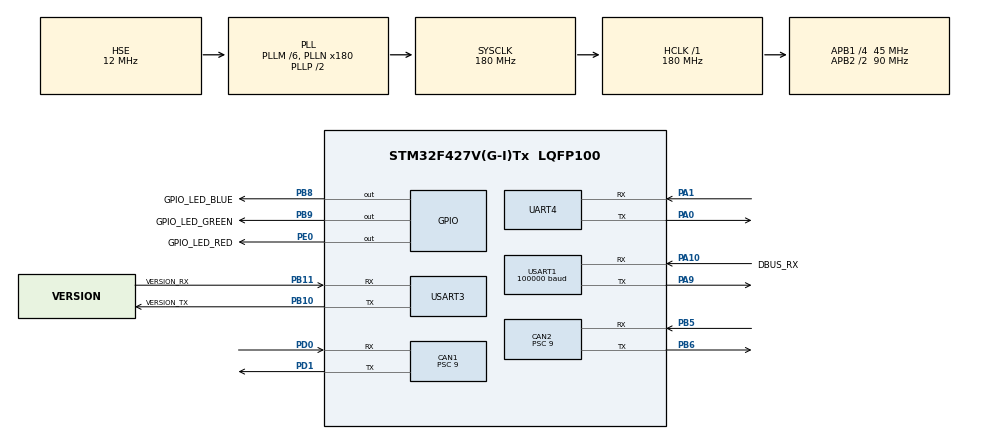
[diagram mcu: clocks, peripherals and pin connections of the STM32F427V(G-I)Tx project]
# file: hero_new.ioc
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CAN1.BS1=CAN_BS1_2TQ
CAN1.BS2=CAN_BS2_2TQ
CAN1.CalculateTimeQuantum=200.0
CAN1.Prescaler=9
CAN2.BS1=CAN_BS1_2TQ
CAN2.BS2=CAN_BS2_2TQ
CAN2.CalculateTimeQuantum=200.0
CAN2.Prescaler=9
Dma.Request0=USART1_RX
Dma.Request1=USART3_RX
Dma.Request2=USART3_TX
Dma.Request3=UART4_TX
Dma.UART4_TX.3.Direction=DMA_MEMORY_TO_PERIPH
Dma.UART4_TX.3.FIFOMode=DMA_FIFOMODE_DISABLE
Dma.UART4_TX.3.Instance=DMA1_Stream4
Dma.UART4_TX.3.MemDataAlignment=DMA_MDATAALIGN_BYTE
Dma.UART4_TX.3.MemInc=DMA_MINC_ENABLE
Dma.UART4_TX.3.Mode=DMA_NORMAL
Dma.UART4_TX.3.PeriphDataAlignment=DMA_PDATAALIGN_BYTE
Dma.UART4_TX.3.PeriphInc=DMA_PINC_DISABLE
Dma.UART4_TX.3.Priority=DMA_PRIORITY_LOW
Dma.USART1_RX.0.Direction=DMA_PERIPH_TO_MEMORY
Dma.USART1_RX.0.FIFOMode=DMA_FIFOMODE_DISABLE
Dma.USART1_RX.0.Instance=DMA2_Stream2
Dma.USART1_RX.0.MemDataAlignment=DMA_MDATAALIGN_BYTE
Dma.USART1_RX.0.MemInc=DMA_MINC_ENABLE
Dma.USART1_RX.0.Mode=DMA_NORMAL
Dma.USART1_RX.0.PeriphDataAlignment=DMA_PDATAALIGN_BYTE
Dma.USART1_RX.0.PeriphInc=DMA_PINC_DISABLE
Dma.USART1_RX.0.Priority=DMA_PRIORITY_VERY_HIGH
Dma.USART3_RX.1.Direction=DMA_PERIPH_TO_MEMORY
Dma.USART3_RX.1.FIFOMode=DMA_FIFOMODE_DISABLE
Dma.USART3_RX.1.Instance=DMA1_Stream1
Dma.USART3_RX.1.MemDataAlignment=DMA_MDATAALIGN_BYTE
Dma.USART3_RX.1.MemInc=DMA_MINC_ENABLE
Dma.USART3_RX.1.Mode=DMA_NORMAL
Dma.USART3_RX.1.PeriphDataAlignment=DMA_PDATAALIGN_BYTE
Dma.USART3_RX.1.PeriphInc=DMA_PINC_DISABLE
Dma.USART3_RX.1.Priority=DMA_PRIORITY_VERY_HIGH
Dma.USART3_TX.2.Direction=DMA_MEMORY_TO_PERIPH
Dma.USART3_TX.2.FIFOMode=DMA_FIFOMODE_DISABLE
Dma.USART3_TX.2.Instance=DMA1_Stream3
Dma.USART3_TX.2.MemDataAlignment=DMA_MDATAALIGN_BYTE
Dma.USART3_TX.2.MemInc=DMA_MINC_ENABLE
Dma.USART3_TX.2.Mode=DMA_NORMAL
Dma.USART3_TX.2.PeriphDataAlignment=DMA_PDATAALIGN_BYTE
Dma.USART3_TX.2.PeriphInc=DMA_PINC_DISABLE
Dma.USART3_TX.2.Priority=DMA_PRIORITY_LOW
FREERTOS.INCLUDE_vTaskDelayUntil=1
FREERTOS.Tasks01=rgbTask,-2,128,rgbHandler,As weak,NULL,Dynamic,NULL,NULL;gimbalTask,3,512,gimbalHandler,As weak,NULL,Dynamic,NULL,NULL;chassisTask,3,512,chassisHandler,As weak,NULL,Dynamic,NULL,NULL;shootTask,2,512,shootHandler,As weak,NULL,Dynamic,NULL,NULL;judgeSolution,0,512,judgeHandler,As weak,NULL,Dynamic,NULL,NULL
Mcu.Family=STM32F4
Mcu.Name=STM32F427V(G-I)Tx
Mcu.Package=LQFP100
NVIC.CAN1_RX0_IRQn=true\:0\:0\:false\:false\:true\:true\:true\:true
NVIC.CAN2_RX0_IRQn=true\:0\:0\:false\:false\:true\:true\:true\:true
NVIC.DMA1_Stream1_IRQn=true\:0\:0\:false\:false\:true\:true\:false\:true
NVIC.DMA1_Stream3_IRQn=true\:0\:0\:false\:false\:true\:true\:false\:true
NVIC.DMA1_Stream4_IRQn=true\:0\:0\:false\:false\:true\:true\:false\:true
NVIC.DMA2_Stream2_IRQn=true\:0\:0\:false\:false\:true\:true\:false\:true
NVIC.PriorityGroup=NVIC_PRIORITYGROUP_4
NVIC.TIM1_UP_TIM10_IRQn=true\:0\:0\:false\:false\:true\:false\:false\:true
NVIC.TimeBase=TIM1_UP_TIM10_IRQn
NVIC.TimeBaseIP=TIM1
NVIC.USART1_IRQn=true\:0\:0\:false\:false\:true\:true\:true\:true
NVIC.USART3_IRQn=true\:0\:0\:false\:false\:true\:true\:true\:true
PA0/WKUP.Mode=Asynchronous
PA0/WKUP.Signal=UART4_TX
PA1.Mode=Asynchronous
PA1.Signal=UART4_RX
PA10.GPIO_Label=DBUS_RX
PA10.Mode=Asynchronous
PA10.Signal=USART1_RX
PA13.Mode=JTAG_4_pins
PA13.Signal=SYS_JTMS-SWDIO
PA14.Mode=JTAG_4_pins
PA14.Signal=SYS_JTCK-SWCLK
PA15.Mode=JTAG_4_pins
PA15.Signal=SYS_JTDI
PA9.Mode=Asynchronous
PA9.Signal=USART1_TX
PB10.GPIO_Label=VERSION_TX
PB10.Mode=Asynchronous
PB10.Signal=USART3_TX
PB11.GPIO_Label=VERSION_RX
PB11.Mode=Asynchronous
PB11.Signal=USART3_RX
PB3.Mode=JTAG_4_pins
PB3.Signal=SYS_JTDO-SWO
PB5.Mode=Slave
PB5.Signal=CAN2_RX
PB6.Mode=Slave
PB6.Signal=CAN2_TX
PB8.GPIO_Label=GPIO_LED_BLUE
PB8.Signal=GPIO_Output
PB9.GPIO_Label=GPIO_LED_GREEN
PB9.Signal=GPIO_Output
PD0.Mode=Master
PD0.Signal=CAN1_RX
PD1.Mode=Master
PD1.Signal=CAN1_TX
PE0.GPIO_Label=GPIO_LED_RED
PE0.Signal=GPIO_Output
PH0/OSC_IN.Mode=HSE-External-Oscillator
PH0/OSC_IN.Signal=RCC_OSC_IN
PH1/OSC_OUT.Mode=HSE-External-Oscillator
PH1/OSC_OUT.Signal=RCC_OSC_OUT
ProjectManager.HeapSize=0x200
ProjectManager.StackSize=0x400
ProjectManager.TargetToolchain=MDK-ARM V5
RCC.48MHZClocksFreq_Value=90000000
RCC.AHBFreq_Value=180000000
RCC.APB1CLKDivider=RCC_HCLK_DIV4
RCC.APB1Freq_Value=45000000
RCC.APB1TimFreq_Value=90000000
RCC.APB2CLKDivider=RCC_HCLK_DIV2
RCC.APB2Freq_Value=90000000
RCC.APB2TimFreq_Value=180000000
RCC.CortexFreq_Value=180000000
RCC.HCLKFreq_Value=180000000
RCC.HSE_VALUE=12000000
RCC.HSI_VALUE=16000000
RCC.LSE_VALUE=32768
RCC.PLLM=6
RCC.PLLN=180
RCC.PLLSourceVirtual=RCC_PLLSOURCE_HSE
RCC.SYSCLKFreq_VALUE=180000000
RCC.SYSCLKSource=RCC_SYSCLKSOURCE_PLLCLK
RCC.VCOOutputFreq_Value=360000000
UART4.VirtualMode=Asynchronous
USART1.BaudRate=100000
USART1.Mode=MODE_TX_RX
USART1.Parity=PARITY_EVEN
USART1.VirtualMode=VM_ASYNC
USART3.VirtualMode=VM_ASYNC
VP_FREERTOS_VS_CMSIS_V1.Mode=CMSIS_V1
VP_SYS_VS_tim1.Mode=TIM1
board=custom

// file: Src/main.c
/* USER CODE BEGIN Header */
/**
 ******************************************************************************
 * @file           : main.c
 * @brief          : Main program body
 ******************************************************************************
 * @attention
 *
 * <h2><center>&copy; Copyright (c) 2020 STMicroelectronics.
 * All rights reserved.</center></h2>
 *
 * This software component is licensed by ST under Ultimate Liberty license
 * SLA0044, the "License"; You may not use this file except in compliance with
 * the License. You may obtain a copy of the License at:
 *                             www.st.com/SLA0044
 *
 ******************************************************************************
 */
/**
 *                    _ooOoo_
 *                   o8888888o
 *                   88" . "88
 *                   (| -_- |)
 *                    O\ = /O
 *                ____/`---'\____
 *              .   ' \\| |// `.
 *               / \\||| : |||// \
 *             / _||||| -:- |||||- \
 *               | | \\\ - /// | |
 *             | \_| ''\---/'' | |
 *              \ .-\__ `-` ___/-. /
 *           ___`. .' /--.--\ `. . __
 *        ."" '< `.___\_<|>_/___.' >'"".
 *       | | : `- \`.;`\ _ /`;.`/ - ` : | |
 *         \ \ `-. \_ __\ /__ _/ .-` / /
 * ======`-.____`-.___\_____/___.-`____.-'======
 *                    `=---='
 *
 * .............................................
 *          佛祖保佑             永无BUG.........
 */

/**
 *  佛曰:
 *          写字楼里写字间，写字间里程序员；
 *          程序人员写程序，又拿程序换酒钱；
 *          酒醒只在网上坐，酒醉还来网下眠；
 *          酒醉酒醒日复日，网上网下年复年；
 *          但愿老死电脑间，不愿鞠躬老板前；
 *          奔驰宝马贵人趣，公交自行程序员；
 *          别人笑我忒疯癫，我笑自己命太贱；
 *          不见满街漂亮妹，哪个归得程序员？
 */
/* USER CODE END Header */
#include "main.h"

#include "can.h"
#include "cmsis_os.h"
#include "dma.h"
#include "gpio.h"
#include "usart.h"

void SystemClock_Config(void);
void MX_FREERTOS_Init(void);

int main(void) {

  /* MCU Configuration--------------------------------------------------------*/

  /* Reset of all peripherals, Initializes the Flash interface and the Systick.
   */
  HAL_Init();

  /* Configure the system clock */
  SystemClock_Config();

  /* Initialize all configured peripherals */
  MX_GPIO_Init();
  MX_DMA_Init();
  MX_CAN1_Init();
  MX_CAN2_Init();
  MX_USART1_UART_Init();
  MX_USART3_UART_Init();
  MX_UART4_Init();
  /* USER CODE BEGIN 2 */
  initializeBoard();
  /* USER CODE END 2 */

  /* Call init function for freertos objects (in freertos.c) */
  MX_FREERTOS_Init();
  /* Start scheduler */
  osKernelStart();

  /* We should never get here as control is now taken by the scheduler */
  /* Infinite loop */
  while (1) {

  }
}

void SystemClock_Config(void) {
  RCC_OscInitTypeDef RCC_OscInitStruct = {0};
  RCC_ClkInitTypeDef RCC_ClkInitStruct = {0};

  /** Configure the main internal regulator output voltage
   */
  __HAL_RCC_PWR_CLK_ENABLE();
  __HAL_PWR_VOLTAGESCALING_CONFIG(PWR_REGULATOR_VOLTAGE_SCALE1);
  /** Initializes the RCC Oscillators according to the specified parameters
   * in the RCC_OscInitTypeDef structure.
   */
  RCC_OscInitStruct.OscillatorType = RCC_OSCILLATORTYPE_HSE;
  RCC_OscInitStruct.HSEState = RCC_HSE_ON;
  RCC_OscInitStruct.PLL.PLLState = RCC_PLL_ON;
  RCC_OscInitStruct.PLL.PLLSource = RCC_PLLSOURCE_HSE;
  RCC_OscInitStruct.PLL.PLLM = 6;
  RCC_OscInitStruct.PLL.PLLN = 180;
  RCC_OscInitStruct.PLL.PLLP = RCC_PLLP_DIV2;
  RCC_OscInitStruct.PLL.PLLQ = 4;
  if (HAL_RCC_OscConfig(&RCC_OscInitStruct) != HAL_OK) {
    Error_Handler();
  }
  /** Activate the Over-Drive mode
   */
  if (HAL_PWREx_EnableOverDrive() != HAL_OK) {
    Error_Handler();
  }
  /** Initializes the CPU, AHB and APB buses clocks
   */
  RCC_ClkInitStruct.ClockType = RCC_CLOCKTYPE_HCLK | RCC_CLOCKTYPE_SYSCLK |
                                RCC_CLOCKTYPE_PCLK1 | RCC_CLOCKTYPE_PCLK2;
  RCC_ClkInitStruct.SYSCLKSource = RCC_SYSCLKSOURCE_PLLCLK;
  RCC_ClkInitStruct.AHBCLKDivider = RCC_SYSCLK_DIV1;
  RCC_ClkInitStruct.APB1CLKDivider = RCC_HCLK_DIV4;
  RCC_ClkInitStruct.APB2CLKDivider = RCC_HCLK_DIV2;

  if (HAL_RCC_ClockConfig(&RCC_ClkInitStruct, FLASH_LATENCY_5) != HAL_OK) {
    Error_Handler();
  }
}

void HAL_TIM_PeriodElapsedCallback(TIM_HandleTypeDef *htim) {
  if (htim->Instance == TIM1) {
    HAL_IncTick();
  }
}

void Error_Handler(void) {
}

#ifdef USE_FULL_ASSERT
/**
 * @brief  Reports the name of the source file and the source line number
 *         where the assert_param error has occurred.
 * @param  file: pointer to the source file name
 * @param  line: assert_param error line source number
 * @retval None
 */
void assert_failed(uint8_t *file, uint32_t line) {
  /* USER CODE BEGIN 6 */
  /* User can add his own implementation to report the file name and line
     number,
     tex: printf("Wrong parameters value: file %s on line %d\r\n", file, line)
   */
  /* USER CODE END 6 */
}
#endif /* USE_FULL_ASSERT */

/************************ (C) COPYRIGHT STMicroelectronics *****END OF FILE****/

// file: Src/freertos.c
/* USER CODE BEGIN Header */
/**
  ******************************************************************************
  * File Name          : freertos.c
  * Description        : Code for freertos applications
  ******************************************************************************
  * @attention
  *
  * <h2><center>&copy; Copyright (c) 2020 STMicroelectronics.
  * All rights reserved.</center></h2>
  *
  * This software component is licensed by ST under Ultimate Liberty license
  * SLA0044, the "License"; You may not use this file except in compliance with
  * the License. You may obtain a copy of the License at:
  *                             www.st.com/SLA0044
  *
  ******************************************************************************
  */
/* USER CODE END Header */

#include "FreeRTOS.h"
#include "task.h"
#include "main.h"
#include "cmsis_os.h"

osThreadId rgbTaskHandle;
osThreadId gimbalTaskHandle;
osThreadId chassisTaskHandle;
osThreadId shootTaskHandle;
osThreadId judgeSolutionHandle;

/* USER CODE BEGIN FunctionPrototypes */
#if FORBID_NIMING == 0
void nimingHandler(void const *argument);
osThreadId nimingTaskHandle;
#endif /*end FORBID_NIMING*/
/* USER CODE END FunctionPrototypes */

void rgbHandler(void const * argument);
void gimbalHandler(void const * argument);
void chassisHandler(void const * argument);
void shootHandler(void const * argument);
void judgeHandler(void const * argument);
void MX_FREERTOS_Init(void); /* (MISRA C 2004 rule 8.1) */

/* GetIdleTaskMemory prototype (linked to static allocation support) */
void vApplicationGetIdleTaskMemory( StaticTask_t **ppxIdleTaskTCBBuffer, StackType_t **ppxIdleTaskStackBuffer, uint32_t *pulIdleTaskStackSize );

/* USER CODE BEGIN GET_IDLE_TASK_MEMORY */
static StaticTask_t xIdleTaskTCBBuffer;
static StackType_t xIdleStack[configMINIMAL_STACK_SIZE];

void vApplicationGetIdleTaskMemory( StaticTask_t **ppxIdleTaskTCBBuffer, StackType_t **ppxIdleTaskStackBuffer, uint32_t *pulIdleTaskStackSize )
{
    *ppxIdleTaskTCBBuffer = &xIdleTaskTCBBuffer;
    *ppxIdleTaskStackBuffer = &xIdleStack[0];
    *pulIdleTaskStackSize = configMINIMAL_STACK_SIZE;
    /* place for user code */
}
/* USER CODE END GET_IDLE_TASK_MEMORY */

void MX_FREERTOS_Init(void) {

  /* Create the thread(s) */
  /* definition and creation of rgbTask */
  osThreadDef(rgbTask, rgbHandler, osPriorityLow, 0, 128);
  rgbTaskHandle = osThreadCreate(osThread(rgbTask), NULL);

  /* definition and creation of gimbalTask */
  osThreadDef(gimbalTask, gimbalHandler, osPriorityRealtime, 0, 512);
  gimbalTaskHandle = osThreadCreate(osThread(gimbalTask), NULL);

  /* definition and creation of chassisTask */
  osThreadDef(chassisTask, chassisHandler, osPriorityRealtime, 0, 512);
  chassisTaskHandle = osThreadCreate(osThread(chassisTask), NULL);

  /* definition and creation of shootTask */
  osThreadDef(shootTask, shootHandler, osPriorityHigh, 0, 512);
  shootTaskHandle = osThreadCreate(osThread(shootTask), NULL);

  /* definition and creation of judgeSolution */
  osThreadDef(judgeSolution, judgeHandler, osPriorityNormal, 0, 512);
  judgeSolutionHandle = osThreadCreate(osThread(judgeSolution), NULL);

  /* USER CODE BEGIN RTOS_THREADS */
#if FORBID_NIMING == 0
  osThreadDef(nimingTask, nimingHandler, osPriorityNormal, 0, 128);
  nimingTaskHandle = osThreadCreate(osThread(nimingTask), NULL);
#endif /*end FORBID_NIMING*/
    /* add threads, ... */
  /* USER CODE END RTOS_THREADS */

}

__weak void rgbHandler(void const * argument)
{
    for(;;)
    {
        osDelay(1);
    }
}

__weak void gimbalHandler(void const * argument)
{
    for(;;)
    {
        osDelay(1);
    }
}

__weak void chassisHandler(void const * argument)
{
    for(;;)
    {
        osDelay(1);
    }
}

__weak void shootHandler(void const * argument)
{
    for(;;)
    {
        osDelay(1);
    }
}

__weak void judgeHandler(void const * argument)
{
  for(;;)
  {
    osDelay(1);
  }
}

/* USER CODE BEGIN Application */
/**
* @brief Function implementing the nimingTask thread.
* @param argument: Not used
* @retval None
*/
#if FORBID_NIMING == 0
__weak void nimingHandler(void const * argument)
{
  for(;;)
  {
    osDelay(1);
  }
}
#endif /**/
/* USER CODE END Application */

/************************ (C) COPYRIGHT STMicroelectronics *****END OF FILE****/
